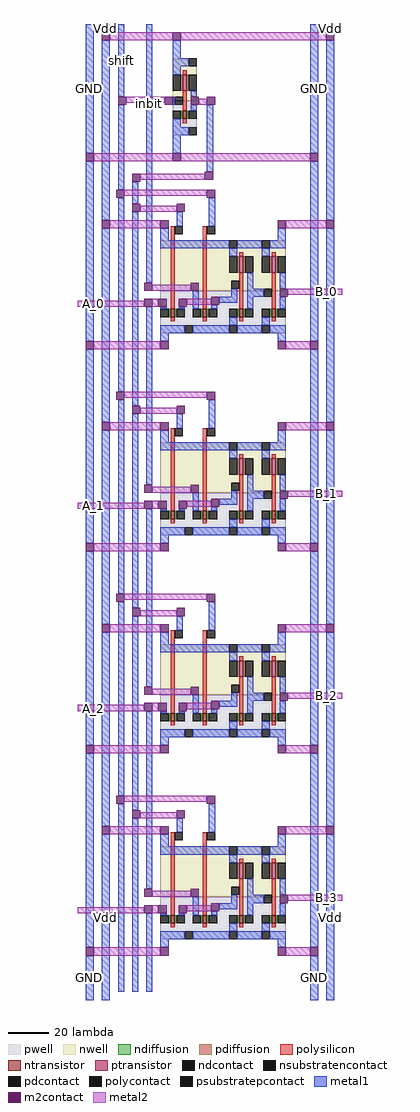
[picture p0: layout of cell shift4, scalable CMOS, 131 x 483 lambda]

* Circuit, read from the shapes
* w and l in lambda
.subckt shift4 A_0 A_1 A_2 A_3 B_0 B_1 B_2 B_3 GND Vdd inbit shift
M1 n1 inverter1_0/Y A_3 GND nfet w=4 l=2
M2 n2 inverter1_0/Y A_2 GND nfet w=4 l=2
M3 n3 inverter1_0/Y A_1 GND nfet w=4 l=2
M4 n4 inverter1_0/Y A_0 GND nfet w=4 l=2
M5 inverter1_0/Y shift GND GND nfet w=4 l=2
M6 n1 shift A_2 GND nfet w=4 l=2
M7 n2 shift A_1 GND nfet w=4 l=2
M8 n3 shift A_0 GND nfet w=4 l=2
M9 n4 shift inbit GND nfet w=4 l=2
M10 n5 n1 GND GND nfet w=4 l=2
M11 n6 n2 GND GND nfet w=4 l=2
M12 n7 n3 GND GND nfet w=4 l=2
M13 n8 n4 GND GND nfet w=4 l=2
M14 B_3 n5 GND GND nfet w=4 l=2
M15 B_2 n6 GND GND nfet w=4 l=2
M16 B_1 n7 GND GND nfet w=4 l=2
M17 B_0 n8 GND GND nfet w=4 l=2
M18 inverter1_0/Y shift Vdd Vdd pfet w=8 l=2
M19 n5 n1 Vdd Vdd pfet w=8 l=2
M20 n6 n2 Vdd Vdd pfet w=8 l=2
M21 n7 n3 Vdd Vdd pfet w=8 l=2
M22 n8 n4 Vdd Vdd pfet w=8 l=2
M23 B_3 n5 Vdd Vdd pfet w=8 l=2
M24 B_2 n6 Vdd Vdd pfet w=8 l=2
M25 B_1 n7 Vdd Vdd pfet w=8 l=2
M26 B_0 n8 Vdd Vdd pfet w=8 l=2
.ends

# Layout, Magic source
magic
tech scmos
<< metal1 >>
rect -13 415 -9 479
rect -13 322 -9 411
rect -13 222 -9 318
rect -13 122 -9 218
rect -13 22 -9 118
rect -13 -4 -9 18
rect -5 475 -1 479
rect -5 382 -1 471
rect 3 443 6 479
rect 3 400 6 439
rect 10 400 13 401
rect 17 400 20 479
rect 47 406 50 439
rect 98 415 102 479
rect -5 282 -1 378
rect -5 182 -1 278
rect -5 82 -1 178
rect -5 -4 -1 78
rect 98 322 102 411
rect 98 222 102 318
rect 98 122 102 218
rect 98 22 102 118
rect 98 -4 102 18
rect 106 475 110 479
rect 106 382 110 471
rect 106 282 110 378
rect 106 182 110 278
rect 106 82 110 178
rect 106 -4 110 78
<< metal2 >>
rect -1 471 23 475
rect 39 471 106 475
rect 7 440 22 443
rect -9 411 22 415
rect 47 411 98 415
rect 14 402 46 405
rect 98 378 106 382
rect 98 345 114 348
rect -17 339 -1 342
rect -9 318 -1 322
rect 98 278 106 282
rect 98 245 114 248
rect -17 239 -1 242
rect -9 218 -1 222
rect 98 178 106 182
rect 98 145 114 148
rect -17 139 -1 142
rect -9 118 -1 122
rect 98 78 106 82
rect 98 45 114 48
rect -17 39 -1 42
rect -9 18 -1 22
<< m2contact >>
rect -13 411 -9 415
rect -13 318 -9 322
rect -13 218 -9 222
rect -13 118 -9 122
rect -13 18 -9 22
rect -5 471 -1 475
rect 3 439 7 443
rect 10 401 14 405
rect 47 439 51 443
rect 46 402 50 406
rect 98 411 102 415
rect -5 378 -1 382
rect -5 278 -1 282
rect -5 178 -1 182
rect -5 78 -1 82
rect 98 318 102 322
rect 98 218 102 222
rect 98 118 102 122
rect 98 18 102 22
rect 106 471 110 475
rect 106 378 110 382
rect 106 278 110 282
rect 106 178 110 182
rect 106 78 110 82
use inverter1  inverter1_0
transform 1 0 28 0 1 406
box -6 5 19 69
use shift1  shift1_0
array 0 0 99 0 3 100
transform 1 0 25 0 1 23
box -26 -23 73 77
<< labels >>
rlabel metal1 -13 415 -9 479 1 GND
rlabel metal1 -5 475 -1 479 1 Vdd
rlabel metal1 106 475 110 479 1 Vdd
rlabel metal1 98 415 102 479 1 GND
rlabel metal1 3 443 6 479 1 shift
rlabel metal1 17 400 20 479 1 inbit
rlabel metal1 -13 -4 -9 18 5 GND
rlabel metal1 -5 -4 -1 78 5 Vdd
rlabel metal1 98 -4 102 18 5 GND
rlabel metal1 106 -4 110 78 5 Vdd
rlabel metal2 -17 39 -1 42 7 A_3
rlabel metal2 98 45 114 48 3 B_3
rlabel metal2 -17 139 -1 142 7 A_2
rlabel metal2 98 145 114 148 3 B_2
rlabel metal2 -17 239 -1 242 7 A_1
rlabel metal2 98 245 114 248 3 B_1
rlabel metal2 -17 339 -1 342 7 A_0
rlabel metal2 98 345 114 348 3 B_0
<< end >>

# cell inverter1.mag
magic
tech scmos
<< pwell >>
rect 2 18 14 35
<< nwell >>
rect 2 35 14 56
<< polysilicon >>
rect 7 48 9 50
rect 7 30 9 40
rect 7 24 9 26
<< ndiffusion >>
rect 6 26 7 30
rect 9 26 10 30
<< pdiffusion >>
rect 6 40 7 48
rect 9 40 10 48
<< metal1 >>
rect 2 56 6 65
rect 2 52 10 56
rect 2 48 6 52
rect 11 37 14 40
rect 2 33 3 37
rect 11 30 14 33
rect 2 22 6 26
rect 2 18 10 22
rect 2 9 6 18
<< metal2 >>
rect -6 65 2 69
rect 6 65 19 69
rect -6 34 -2 37
rect 15 33 19 36
rect -6 5 2 9
rect 6 5 19 9
<< ntransistor >>
rect 7 26 9 30
<< ptransistor >>
rect 7 40 9 48
<< polycontact >>
rect 3 33 7 37
<< ndcontact >>
rect 2 26 6 30
rect 10 26 14 30
<< pdcontact >>
rect 2 40 6 48
rect 10 40 14 48
<< m2contact >>
rect 2 65 6 69
rect -2 33 2 37
rect 11 33 15 37
rect 2 5 6 9
<< psubstratepcontact >>
rect 10 18 14 22
<< nsubstratencontact >>
rect 10 52 14 56
<< labels >>
rlabel metal2 15 33 19 36 3 Y
rlabel metal2 6 65 19 69 3 Vdd
rlabel metal2 6 5 19 9 3 GND
rlabel metal2 -6 65 2 69 7 Vdd
rlabel metal2 -6 5 2 9 7 GND
rlabel metal2 -6 34 -2 37 7 A
<< end >>

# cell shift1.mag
magic
tech scmos
<< pwell >>
rect -1 3 61 24
<< nwell >>
rect -1 24 61 49
<< polysilicon >>
rect 4 15 6 56
rect 20 15 22 56
rect 38 41 40 43
rect 54 41 56 43
rect 38 15 40 33
rect 54 15 56 33
rect 4 9 6 11
rect 20 9 22 11
rect 38 9 40 11
rect 54 9 56 11
<< ndiffusion >>
rect 3 11 4 15
rect 6 11 7 15
rect 19 11 20 15
rect 22 11 23 15
rect 37 11 38 15
rect 40 11 41 15
rect 53 11 54 15
rect 56 11 57 15
<< pdiffusion >>
rect 37 33 38 41
rect 40 33 41 41
rect 53 33 54 41
rect 56 33 57 41
<< metal1 >>
rect -22 74 -19 77
rect -22 -23 -19 70
rect -15 67 -12 77
rect -15 -23 -12 63
rect -8 28 -5 77
rect 7 56 10 63
rect 23 56 26 70
rect -1 49 3 55
rect 57 49 61 55
rect -1 45 33 49
rect 37 45 49 49
rect 53 45 61 49
rect 33 41 37 45
rect 49 41 53 45
rect -8 -23 -5 16
rect -1 15 2 16
rect 8 15 11 16
rect 15 15 18 24
rect 42 25 45 33
rect 58 25 61 33
rect 34 21 37 25
rect 28 18 37 21
rect 42 21 50 25
rect 24 15 27 17
rect 42 15 45 21
rect 58 15 61 21
rect 33 7 37 11
rect 49 7 53 11
rect -1 3 11 7
rect 15 3 33 7
rect 37 3 49 7
rect 53 3 61 7
rect -1 -1 3 3
rect 57 -1 61 3
<< metal2 >>
rect -19 71 22 74
rect -11 63 7 66
rect -26 55 -1 59
rect 61 55 73 59
rect -5 24 14 27
rect 62 22 73 25
rect -26 16 -9 19
rect -5 16 -2 20
rect 12 17 24 20
rect -26 -5 -1 -1
rect 61 -5 73 -1
<< ntransistor >>
rect 4 11 6 15
rect 20 11 22 15
rect 38 11 40 15
rect 54 11 56 15
<< ptransistor >>
rect 38 33 40 41
rect 54 33 56 41
<< polycontact >>
rect 6 52 10 56
rect 22 52 26 56
rect 34 25 38 29
rect 50 21 54 25
<< ndcontact >>
rect -1 11 3 15
rect 7 11 11 15
rect 15 11 19 15
rect 23 11 27 15
rect 33 11 37 15
rect 41 11 45 15
rect 49 11 53 15
rect 57 11 61 15
<< pdcontact >>
rect 33 33 37 41
rect 41 33 45 41
rect 49 33 53 41
rect 57 33 61 41
<< m2contact >>
rect -23 70 -19 74
rect -15 63 -11 67
rect 22 70 26 74
rect 7 63 11 67
rect -1 55 3 59
rect 57 55 61 59
rect -9 24 -5 28
rect 14 24 18 28
rect -9 16 -5 20
rect -2 16 2 20
rect 8 16 12 20
rect 24 17 28 21
rect 58 21 62 25
rect -1 -5 3 -1
rect 57 -5 61 -1
<< psubstratepcontact >>
rect 11 3 15 7
rect 33 3 37 7
rect 49 3 53 7
<< nsubstratencontact >>
rect 33 45 37 49
rect 49 45 53 49
<< labels >>
rlabel metal1 -22 74 -19 77 1 shift
rlabel metal1 -15 67 -12 77 1 shift_n
rlabel metal1 -8 28 -5 77 1 inbit
rlabel metal2 -26 55 -1 59 7 Vdd
rlabel metal2 -26 16 -9 19 7 A
rlabel metal2 -26 -5 -1 -1 7 GND
rlabel metal1 -22 -23 -19 70 5 shift
rlabel metal1 -15 -23 -12 63 5 shift_n
rlabel metal1 -8 -23 -5 16 5 A
rlabel metal2 61 55 73 59 3 Vdd
rlabel metal2 62 22 73 25 3 B
rlabel metal2 61 -5 73 -1 3 GND
<< end >>
